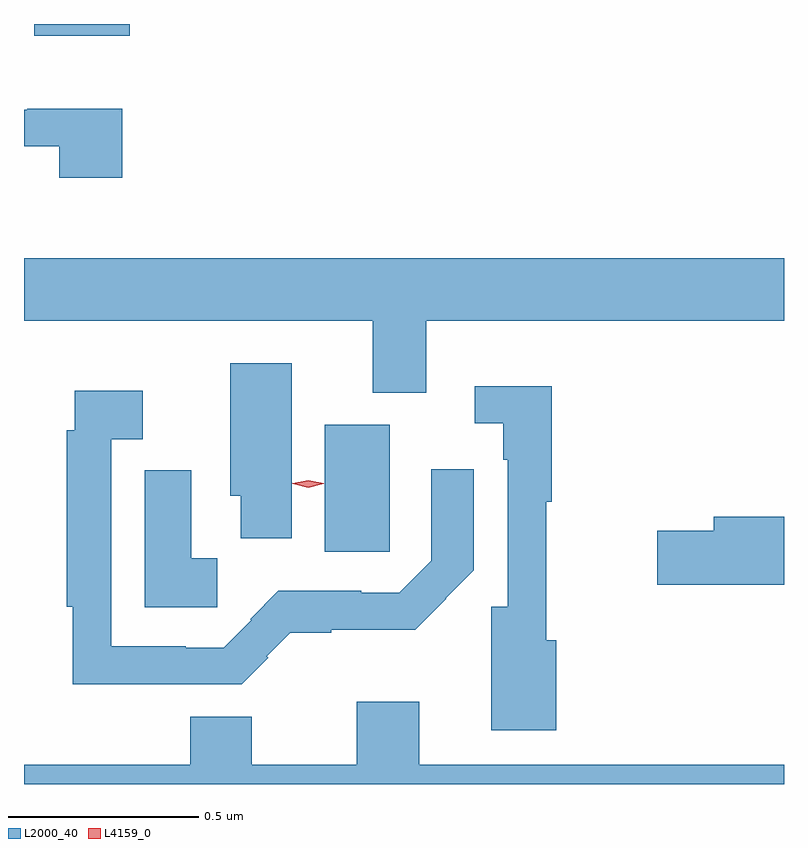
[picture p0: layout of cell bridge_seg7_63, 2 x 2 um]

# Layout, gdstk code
import gdstk
lib = gdstk.Library(unit=1e-6, precision=1e-09)
def R(c, l, rs):  # rectangles x0, y0, x1, y1
    for r in rs: c.add(gdstk.rectangle(r[:2], r[2:], *l))
def P(c, l, *ps):  # polygons
    for p in ps: c.add(gdstk.Polygon(p, *l))
L2000_40 = (2000, 40)
L4159_0 = (4159, 0)

bridge_seg7_63 = lib.new_cell('bridge_seg7_63')
R(bridge_seg7_63, L2000_40, [(942.794,1021.32,942.964,1021.654), (942.029,1022.678,942.28,1022.709)])
P(bridge_seg7_63, L2000_40, [(942.26,1022.486),(942.011,1022.486),(942.011,1022.484),(942.002,1022.484),(942.002,1022.387),(942.095,1022.387),(942.095,1022.304),(942.26,1022.304)],
  [(943.06,1021.928),(944.002,1021.928),(944.002,1022.092),(942.002,1022.092),(942.002,1021.928),(942.92,1021.928),(942.92,1021.739),(943.06,1021.739)],
  [(942.706,1021.816),(942.545,1021.816),(942.545,1021.467),(942.572,1021.467),(942.572,1021.356),(942.706,1021.356)],
  [(943.403,1021.087),(943.376,1021.087),(943.376,1021.452),(943.391,1021.452),(943.391,1021.756),(943.188,1021.756),(943.188,1021.659),(943.263,1021.659),(943.263,1021.562),(943.275,1021.562),(943.275,1021.176),(943.232,1021.176),(943.232,1020.851),(943.403,1020.851)],
  [(942.645,1021.041),(942.641,1021.045),(942.703,1021.107),(942.811,1021.107),(942.811,1021.115),(943.031,1021.115),(943.113,1021.197),(943.112,1021.198),(943.186,1021.272),(943.186,1021.537),(943.074,1021.537),(943.074,1021.296),(942.99,1021.212),(942.89,1021.212),(942.89,1021.217),(942.671,1021.217),(942.597,1021.143),(942.6,1021.14),(942.528,1021.068),(942.428,1021.068),(942.428,1021.072),(942.231,1021.072),(942.231,1021.616),(942.314,1021.616),(942.314,1021.744),(942.135,1021.744),(942.135,1021.64),(942.115,1021.64),(942.115,1021.175),(942.13,1021.175),(942.13,1020.971),(942.575,1020.971)],
  [(942.511,1021.303),(942.442,1021.303),(942.442,1021.535),(942.32,1021.535),(942.32,1021.174),(942.511,1021.174)],
  [(944.002,1021.412),(943.817,1021.412),(943.817,1021.376),(943.668,1021.376),(943.668,1021.234),(944.002,1021.234)],
  [(944.002,1020.76),(943.042,1020.76),(943.042,1020.925),(942.878,1020.925),(942.878,1020.76),(942.601,1020.76),(942.601,1020.886),(942.44,1020.886),(942.44,1020.76),(942.002,1020.76),(942.002,1020.709),(944.002,1020.709)])
P(bridge_seg7_63, L4159_0, [(942.75,1021.489),(942.709,1021.499),(942.708,1021.5),(942.709,1021.5),(942.75,1021.509),(942.791,1021.5),(942.791,1021.499),(942.791,1021.499)])

lib.write_gds('bridge_seg7_63.gds')
